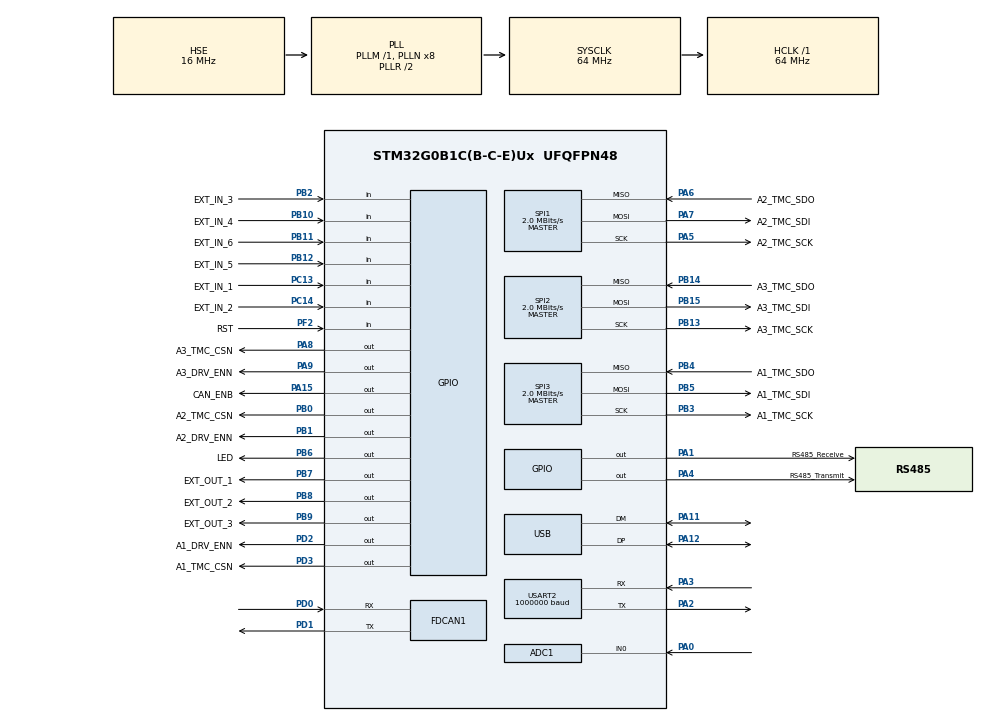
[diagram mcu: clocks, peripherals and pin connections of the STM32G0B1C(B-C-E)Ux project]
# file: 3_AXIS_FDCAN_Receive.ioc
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ADC1.Channel-0\#ChannelRegularConversion=ADC_CHANNEL_0
ADC1.NbrOfConversionFlag=1
ADC1.Rank-0\#ChannelRegularConversion=1
ADC1.SamplingTime-0\#ChannelRegularConversion=ADC_SAMPLINGTIME_COMMON_1
ADC1.SelectedChannel=ADC_CHANNEL_0
ADC1.master=1
FDCAN1.CalculateBaudRateNominal=1000000
FDCAN1.CalculateTimeBitNominal=1000
FDCAN1.CalculateTimeQuantumNominal=62.5
FDCAN1.DataPrescaler=1
FDCAN1.DataTimeSeg1=10
FDCAN1.DataTimeSeg2=2
FDCAN1.FrameFormat=FDCAN_FRAME_FD_BRS
FDCAN1.NominalPrescaler=4
FDCAN1.NominalTimeSeg1=13
FDCAN1.NominalTimeSeg2=2
Mcu.Family=STM32G0
Mcu.Name=STM32G0B1C(B-C-E)Ux
Mcu.Package=UFQFPN48
NVIC.TIM16_FDCAN_IT0_IRQn=true\:0\:0\:false\:false\:true\:true\:true\:true
NVIC.USART2_LPUART2_IRQn=true\:0\:0\:false\:false\:true\:true\:true\:true
NVIC.USB_UCPD1_2_IRQn=true\:0\:0\:false\:false\:true\:true\:true\:true
PA0.Mode=IN0
PA0.Signal=ADC1_IN0
PA1.GPIO_Label=RS485_Receive
PA1.Signal=GPIO_Output
PA11\ [PA9].Mode=Device
PA11\ [PA9].Signal=USB_DM
PA12\ [PA10].Mode=Device
PA12\ [PA10].Signal=USB_DP
PA13.Mode=Serial_Wire
PA13.Signal=SYS_SWDIO
PA14-BOOT0.Mode=Serial_Wire
PA14-BOOT0.Signal=SYS_SWCLK
PA15.GPIO_Label=CAN_ENB
PA15.Signal=GPIO_Output
PA2.Mode=Asynchronous
PA2.Signal=USART2_TX
PA3.Mode=Asynchronous
PA3.Signal=USART2_RX
PA4.GPIO_Label=RS485_Transmit
PA4.Signal=GPIO_Output
PA5.GPIO_Label=A2_TMC_SCK
PA5.GPIO_Speed=GPIO_SPEED_FREQ_HIGH
PA5.Mode=Full_Duplex_Master
PA5.Signal=SPI1_SCK
PA6.GPIO_Label=A2_TMC_SDO
PA6.GPIO_Speed=GPIO_SPEED_FREQ_HIGH
PA6.Mode=Full_Duplex_Master
PA6.Signal=SPI1_MISO
PA7.GPIO_Label=A2_TMC_SDI
PA7.GPIO_Speed=GPIO_SPEED_FREQ_HIGH
PA7.Mode=Full_Duplex_Master
PA7.Signal=SPI1_MOSI
PA8.GPIO_Label=A3_TMC_CSN
PA8.PinState=GPIO_PIN_SET
PA8.Signal=GPIO_Output
PA9.GPIO_Label=A3_DRV_ENN
PA9.GPIO_PuPd=GPIO_PULLUP
PA9.PinState=GPIO_PIN_SET
PA9.Signal=GPIO_Output
PB0.GPIO_Label=A2_TMC_CSN
PB0.PinState=GPIO_PIN_SET
PB0.Signal=GPIO_Output
PB1.GPIO_Label=A2_DRV_ENN
PB1.GPIO_PuPd=GPIO_PULLUP
PB1.PinState=GPIO_PIN_SET
PB1.Signal=GPIO_Output
PB10.GPIO_Label=EXT_IN_4
PB10.GPIO_PuPd=GPIO_PULLDOWN
PB10.Signal=GPIO_Input
PB11.GPIO_Label=EXT_IN_6
PB11.GPIO_PuPd=GPIO_PULLDOWN
PB11.Signal=GPIO_Input
PB12.GPIO_Label=EXT_IN_5
PB12.GPIO_PuPd=GPIO_PULLDOWN
PB12.Signal=GPIO_Input
PB13.GPIO_Label=A3_TMC_SCK
PB13.GPIO_Speed=GPIO_SPEED_FREQ_HIGH
PB13.Mode=Full_Duplex_Master
PB13.Signal=SPI2_SCK
PB14.GPIO_Label=A3_TMC_SDO
PB14.GPIO_Speed=GPIO_SPEED_FREQ_HIGH
PB14.Mode=Full_Duplex_Master
PB14.Signal=SPI2_MISO
PB15.GPIO_Label=A3_TMC_SDI
PB15.GPIO_Speed=GPIO_SPEED_FREQ_HIGH
PB15.Mode=Full_Duplex_Master
PB15.Signal=SPI2_MOSI
PB2.GPIO_Label=EXT_IN_3
PB2.GPIO_PuPd=GPIO_PULLDOWN
PB2.Signal=GPIO_Input
PB3.GPIO_Label=A1_TMC_SCK
PB3.GPIO_Speed=GPIO_SPEED_FREQ_HIGH
PB3.Mode=Full_Duplex_Master
PB3.PinState=GPIO_PIN_RESET
PB3.Signal=SPI3_SCK
PB4.GPIO_Label=A1_TMC_SDO
PB4.GPIO_Speed=GPIO_SPEED_FREQ_HIGH
PB4.Mode=Full_Duplex_Master
PB4.Signal=SPI3_MISO
PB5.GPIO_Label=A1_TMC_SDI
PB5.GPIO_Speed=GPIO_SPEED_FREQ_HIGH
PB5.Mode=Full_Duplex_Master
PB5.Signal=SPI3_MOSI
PB6.GPIO_Label=LED
PB6.GPIO_PuPd=GPIO_NOPULL
PB6.Signal=GPIO_Output
PB7.GPIO_Label=EXT_OUT_1
PB7.GPIO_PuPd=GPIO_PULLDOWN
PB7.Signal=GPIO_Output
PB8.GPIO_Label=EXT_OUT_2
PB8.GPIO_PuPd=GPIO_PULLDOWN
PB8.Signal=GPIO_Output
PB9.GPIO_Label=EXT_OUT_3
PB9.GPIO_PuPd=GPIO_PULLDOWN
PB9.Signal=GPIO_Output
PC13.GPIO_Label=EXT_IN_1
PC13.GPIO_PuPd=GPIO_PULLDOWN
PC13.Signal=GPIO_Input
PC14-OSC32_IN\ (PC14).GPIO_Label=EXT_IN_2
PC14-OSC32_IN\ (PC14).GPIO_PuPd=GPIO_PULLDOWN
PC14-OSC32_IN\ (PC14).Signal=GPIO_Input
PD0.GPIO_Speed=GPIO_SPEED_FREQ_HIGH
PD0.Mode=FDCAN_Activate
PD0.Signal=FDCAN1_RX
PD1.GPIO_Speed=GPIO_SPEED_FREQ_HIGH
PD1.Mode=FDCAN_Activate
PD1.Signal=FDCAN1_TX
PD2.GPIO_Label=A1_DRV_ENN
PD2.GPIO_PuPd=GPIO_PULLUP
PD2.PinState=GPIO_PIN_SET
PD2.Signal=GPIO_Output
PD3.GPIO_Label=A1_TMC_CSN
PD3.PinState=GPIO_PIN_SET
PD3.Signal=GPIO_Output
PF0-OSC_IN\ (PF0).Mode=HSE-External-Oscillator
PF0-OSC_IN\ (PF0).Signal=RCC_OSC_IN
PF1-OSC_OUT\ (PF1).Mode=HSE-External-Oscillator
PF1-OSC_OUT\ (PF1).Signal=RCC_OSC_OUT
PF2-NRST.GPIO_Label=RST
PF2-NRST.Signal=GPIO_Input
ProjectManager.HeapSize=0x200
ProjectManager.StackSize=0x400
ProjectManager.TargetToolchain=STM32CubeIDE
RCC.ADCFreq_Value=64000000
RCC.AHBFreq_Value=64000000
RCC.CortexFreq_Value=64000000
RCC.EXTERNAL_CLOCK_VALUE=48000
RCC.HCLKFreq_Value=64000000
RCC.HSE_VALUE=16000000
RCC.HSI48_VALUE=48000000
RCC.HSI_VALUE=16000000
RCC.LSE_VALUE=32768
RCC.PLLSourceVirtual=RCC_PLLSOURCE_HSE
RCC.SYSCLKFreq_VALUE=64000000
RCC.SYSCLKSource=RCC_SYSCLKSOURCE_PLLCLK
RCC.USBFreq_Value=48000000
RCC.VCOOutputFreq_Value=128000000
SPI1.BaudRatePrescaler=SPI_BAUDRATEPRESCALER_32
SPI1.CLKPhase=SPI_PHASE_1EDGE
SPI1.CalculateBaudRate=2.0 MBits/s
SPI1.DataSize=SPI_DATASIZE_8BIT
SPI1.Direction=SPI_DIRECTION_2LINES
SPI1.Mode=SPI_MODE_MASTER
SPI1.VirtualType=VM_MASTER
SPI2.BaudRatePrescaler=SPI_BAUDRATEPRESCALER_32
SPI2.CLKPhase=SPI_PHASE_1EDGE
SPI2.CalculateBaudRate=2.0 MBits/s
SPI2.DataSize=SPI_DATASIZE_8BIT
SPI2.Direction=SPI_DIRECTION_2LINES
SPI2.Mode=SPI_MODE_MASTER
SPI2.VirtualType=VM_MASTER
SPI3.BaudRatePrescaler=SPI_BAUDRATEPRESCALER_32
SPI3.CLKPhase=SPI_PHASE_1EDGE
SPI3.CalculateBaudRate=2.0 MBits/s
SPI3.DataSize=SPI_DATASIZE_8BIT
SPI3.Direction=SPI_DIRECTION_2LINES
SPI3.Mode=SPI_MODE_MASTER
SPI3.VirtualType=VM_MASTER
USART2.BaudRate=1000000
USART2.VirtualMode-Asynchronous=VM_ASYNC
USB_DEVICE.CLASS_NAME_FS=CDC
USB_DEVICE.VirtualMode=Cdc
USB_DEVICE.VirtualModeFS=Cdc_FS
VP_SYS_VS_DBSignals.Mode=DisableDeadBatterySignals
VP_USB_DEVICE_VS_USB_DEVICE_CDC_FS.Mode=CDC_FS
board=custom

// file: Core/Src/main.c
/* USER CODE BEGIN Header */
/**
  ******************************************************************************
  * @file           : main.c
  * @brief          : Main program body
  ******************************************************************************
  * @attention
  *
  * Copyright (c) 2025 STMicroelectronics.
  * All rights reserved.
  *
  * This software is licensed under terms that can be found in the LICENSE file
  * in the root directory of this software component.
  * If no LICENSE file comes with this software, it is provided AS-IS.
  *
  ******************************************************************************
  * Example: 3_AXIS_FDCAN_Receive
  * Board: 3-AXIS Stepper Driver
  * Purpose: Demonstrates communication using CAN bus using FDCAN.
  * This code will listen to incoming FDCAN bus messages and once CANRxData[0] == 0x01
  * has been received, respond back.
  *
  * Note: FDCAN is not supported on 1-axis. if communication with 1-AXIS is needed
  * use regular CAN
  *
  * Baud used: 1Mbps
  *
  */

/* USER CODE END Header */
#include "main.h"
#include "usb_device.h"

ADC_HandleTypeDef hadc1;

FDCAN_HandleTypeDef hfdcan1;

SPI_HandleTypeDef hspi1;
SPI_HandleTypeDef hspi2;
SPI_HandleTypeDef hspi3;

UART_HandleTypeDef huart2;

void SystemClock_Config(void);
static void MX_GPIO_Init(void);
static void MX_ADC1_Init(void);
static void MX_FDCAN1_Init(void);
static void MX_SPI1_Init(void);
static void MX_SPI2_Init(void);
static void MX_SPI3_Init(void);
static void MX_USART2_UART_Init(void);
/* USER CODE BEGIN PFP */
void EnterBootloader(void);
void Delay_Blocking(volatile uint32_t count);
/* USER CODE END PFP */

/* USER CODE BEGIN 0 */

/* RAMP config */
RampConfig Ramp_axis_1;
RampConfig Ramp_axis_2;
RampConfig Ramp_axis_3;

/* Current config */
CurrentConfig Current_axis_1;
CurrentConfig Current_axis_2;
CurrentConfig Current_axis_3;

/* User Settings */
const int ENC_ENB_A1 = 0;  // 0 = disable Encoder , 1 = enable Encoder
const int ENC_ENB_A2 = 0;  // 0 = disable Encoder , 1 = enable Encoder
const int ENC_ENB_A3 = 0;  // 0 = disable Encoder , 1 = enable Encoder
const int ENC_HOME_A1 = 0; // 0 = don't reset ENC counter at Z-event, 1 = reset at Z-event (for homing)
const int ENC_HOME_A2 = 0; // 0 = don't reset ENC counter at Z-event, 1 = reset at Z-event (for homing)
const int ENC_HOME_A3 = 0; // 0 = don't reset ENC counter at Z-event, 1 = reset at Z-event (for homing)
const int STG_ENB_A1 = 0;  // 0 = disable Stallguard, 1 = enable Stallguard
const int STG_ENB_A2 = 0;  // 0 = disable Stallguard, 1 = enable Stallguard
const int STG_ENB_A3 = 0;  // 0 = disable Stallguard, 1 = enable Stallguard
const int32_t ENC_Resolution_A1 =  8000; // Encoder resolution
const int32_t ENC_Resolution_A2 =  8000; // Encoder resolution
const int32_t ENC_Resolution_A3 =  8000; // Encoder resolution

/* CAN VARIABLES */
FDCAN_TxHeaderTypeDef CANTxHeader;
FDCAN_RxHeaderTypeDef CANRxHeader;

uint8_t CANTxData[8];	//CANTX data array
uint8_t CANRxData[8];	//CANRX data array
uint8_t RS485TxData[8];	//RS485 data array
uint8_t RS485RxData[8]; // RS485 data array
int Datacheck;			//value for checking incoming CAN Data

/*  CAN RECEIVE INTERRUPT */
void HAL_FDCAN_RxFifo0Callback(FDCAN_HandleTypeDef *hfdcan, uint32_t RxFifo0ITs)
{
    // Check which interrupt triggered this callback
    if ((RxFifo0ITs & FDCAN_IT_RX_FIFO0_NEW_MESSAGE) != 0)
    {
    	HAL_FDCAN_GetRxMessage(hfdcan, FDCAN_RX_FIFO0, &CANRxHeader, CANRxData);

		if (CANRxData[0] == 0x01)
		{
			Datacheck = 1;
		}
    }
}

/* RS485 RECEIVE INTERRUPT */
void HAL_UART_RxCpltCallback(UART_HandleTypeDef *huart2)
{
	if(huart2->Instance == USART2)
	{
		if (RS485RxData[0] == 0x01)  // Check if the received data matches the condition (e.g., 0x01)
		{
			Datacheck = 1;  // Set the Datacheck flag to indicate new data received
		}
	}
}

/* USER CODE END 0 */

int main(void)
{

  /* MCU Configuration--------------------------------------------------------*/

  /* Reset of all peripherals, Initializes the Flash interface and the Systick. */
  HAL_Init();

  /* Configure the system clock */
  SystemClock_Config();

  /* USER CODE BEGIN SysInit */
  SSM_InitAxisConfig();
  /* USER CODE END SysInit */

  /* Initialize all configured peripherals */
  MX_GPIO_Init();
  MX_ADC1_Init();
  MX_FDCAN1_Init();
  MX_SPI1_Init();
  MX_SPI2_Init();
  MX_SPI3_Init();
  MX_USART2_UART_Init();
  MX_USB_Device_Init();
  /* USER CODE BEGIN 2 */
  TMC5160_Drive_Enable(0, 1); // turn off 1
  TMC5160_Drive_Enable(0, 2); // turn off 2
  TMC5160_Drive_Enable(0, 3); // turn off 3

  HAL_GPIO_WritePin(LED_GPIO_Port, LED_Pin, 1); // turn on LED

  HAL_FDCAN_Start(&hfdcan1);
  HAL_FDCAN_ActivateNotification(&hfdcan1, FDCAN_IT_RX_FIFO0_NEW_MESSAGE, 0);

    // DATA pakket opbouw CAN BUS
  CANTxHeader.Identifier = 0x100; //ID
  CANTxHeader.IdType = FDCAN_STANDARD_ID; // ID type
  CANTxHeader.TxFrameType = FDCAN_DATA_FRAME;
  CANTxHeader.DataLength = 8;	// data length
  CANTxHeader.BitRateSwitch = 1; //Bitrate switch to 5 Mbps on
  CANTxHeader.FDFormat = FDCAN_FD_CAN;

  CANTxData[0] = 0x01; // dummy data
  CANTxData[1] = 0x02; // dummy data
  CANTxData[2] = 0x03; // dummy data
  CANTxData[3] = 0x04; // dummy data
  CANTxData[4] = 0x05; // dummy data
  CANTxData[5] = 0x06; // dummy data
  CANTxData[6] = 0x07; // dummy data
  CANTxData[7] = 0x08; // dummy data

  HAL_Delay(1000);

  if (HAL_FDCAN_AddMessageToTxFifoQ(&hfdcan1, &CANTxHeader, CANTxData) != HAL_OK)
  {
    Error_Handler();
  }

  /* USER CODE END 2 */

  /* Infinite loop */
  while (1)
  {

    /* USER CODE BEGIN 3 */
	 HAL_GPIO_WritePin(LED_GPIO_Port, LED_Pin, 1); // turn on LED
	 if (Datacheck == 1)
	 {
		 Datacheck = 0;
		 if (HAL_FDCAN_AddMessageToTxFifoQ(&hfdcan1, &CANTxHeader, CANTxData) != HAL_OK)
		 {
		   Error_Handler();
		 }
	 }

	 HAL_Delay(100);
	 HAL_GPIO_WritePin(LED_GPIO_Port, LED_Pin, 0); // turn off LED
	 HAL_Delay(1000);

	 if (enterBootloaderRequested)
	 {
		 HAL_Delay(200);

	     EnterBootloader();
	 }
  }
  /* USER CODE END 3 */
}

void SystemClock_Config(void)
{
  RCC_OscInitTypeDef RCC_OscInitStruct = {0};
  RCC_ClkInitTypeDef RCC_ClkInitStruct = {0};

  /** Configure the main internal regulator output voltage
  */
  HAL_PWREx_ControlVoltageScaling(PWR_REGULATOR_VOLTAGE_SCALE1);

  /** Initializes the RCC Oscillators according to the specified parameters
  * in the RCC_OscInitTypeDef structure.
  */
  RCC_OscInitStruct.OscillatorType = RCC_OSCILLATORTYPE_HSE|RCC_OSCILLATORTYPE_HSI48;
  RCC_OscInitStruct.HSEState = RCC_HSE_ON;
  RCC_OscInitStruct.HSI48State = RCC_HSI48_ON;
  RCC_OscInitStruct.PLL.PLLState = RCC_PLL_ON;
  RCC_OscInitStruct.PLL.PLLSource = RCC_PLLSOURCE_HSE;
  RCC_OscInitStruct.PLL.PLLM = RCC_PLLM_DIV1;
  RCC_OscInitStruct.PLL.PLLN = 8;
  RCC_OscInitStruct.PLL.PLLP = RCC_PLLP_DIV2;
  RCC_OscInitStruct.PLL.PLLQ = RCC_PLLQ_DIV2;
  RCC_OscInitStruct.PLL.PLLR = RCC_PLLR_DIV2;
  if (HAL_RCC_OscConfig(&RCC_OscInitStruct) != HAL_OK)
  {
    Error_Handler();
  }

  /** Initializes the CPU, AHB and APB buses clocks
  */
  RCC_ClkInitStruct.ClockType = RCC_CLOCKTYPE_HCLK|RCC_CLOCKTYPE_SYSCLK
                              |RCC_CLOCKTYPE_PCLK1;
  RCC_ClkInitStruct.SYSCLKSource = RCC_SYSCLKSOURCE_PLLCLK;
  RCC_ClkInitStruct.AHBCLKDivider = RCC_SYSCLK_DIV1;
  RCC_ClkInitStruct.APB1CLKDivider = RCC_HCLK_DIV1;

  if (HAL_RCC_ClockConfig(&RCC_ClkInitStruct, FLASH_LATENCY_2) != HAL_OK)
  {
    Error_Handler();
  }
}

static void MX_ADC1_Init(void)
{

  ADC_ChannelConfTypeDef sConfig = {0};

  /** Configure the global features of the ADC (Clock, Resolution, Data Alignment and number of conversion)
  */
  hadc1.Instance = ADC1;
  hadc1.Init.ClockPrescaler = ADC_CLOCK_SYNC_PCLK_DIV2;
  hadc1.Init.Resolution = ADC_RESOLUTION_12B;
  hadc1.Init.DataAlign = ADC_DATAALIGN_RIGHT;
  hadc1.Init.ScanConvMode = ADC_SCAN_DISABLE;
  hadc1.Init.EOCSelection = ADC_EOC_SINGLE_CONV;
  hadc1.Init.LowPowerAutoWait = DISABLE;
  hadc1.Init.LowPowerAutoPowerOff = DISABLE;
  hadc1.Init.ContinuousConvMode = DISABLE;
  hadc1.Init.NbrOfConversion = 1;
  hadc1.Init.DiscontinuousConvMode = DISABLE;
  hadc1.Init.ExternalTrigConv = ADC_SOFTWARE_START;
  hadc1.Init.ExternalTrigConvEdge = ADC_EXTERNALTRIGCONVEDGE_NONE;
  hadc1.Init.DMAContinuousRequests = DISABLE;
  hadc1.Init.Overrun = ADC_OVR_DATA_PRESERVED;
  hadc1.Init.SamplingTimeCommon1 = ADC_SAMPLETIME_1CYCLE_5;
  hadc1.Init.SamplingTimeCommon2 = ADC_SAMPLETIME_1CYCLE_5;
  hadc1.Init.OversamplingMode = DISABLE;
  hadc1.Init.TriggerFrequencyMode = ADC_TRIGGER_FREQ_HIGH;
  if (HAL_ADC_Init(&hadc1) != HAL_OK)
  {
    Error_Handler();
  }

  /** Configure Regular Channel
  */
  sConfig.Channel = ADC_CHANNEL_0;
  sConfig.Rank = ADC_REGULAR_RANK_1;
  sConfig.SamplingTime = ADC_SAMPLINGTIME_COMMON_1;
  if (HAL_ADC_ConfigChannel(&hadc1, &sConfig) != HAL_OK)
  {
    Error_Handler();
  }

}

static void MX_FDCAN1_Init(void)
{

  hfdcan1.Instance = FDCAN1;
  hfdcan1.Init.ClockDivider = FDCAN_CLOCK_DIV1;
  hfdcan1.Init.FrameFormat = FDCAN_FRAME_FD_BRS;
  hfdcan1.Init.Mode = FDCAN_MODE_NORMAL;
  hfdcan1.Init.AutoRetransmission = DISABLE;
  hfdcan1.Init.TransmitPause = DISABLE;
  hfdcan1.Init.ProtocolException = DISABLE;
  hfdcan1.Init.NominalPrescaler = 4;
  hfdcan1.Init.NominalSyncJumpWidth = 1;
  hfdcan1.Init.NominalTimeSeg1 = 13;
  hfdcan1.Init.NominalTimeSeg2 = 2;
  hfdcan1.Init.DataPrescaler = 1;
  hfdcan1.Init.DataSyncJumpWidth = 1;
  hfdcan1.Init.DataTimeSeg1 = 10;
  hfdcan1.Init.DataTimeSeg2 = 2;
  hfdcan1.Init.StdFiltersNbr = 0;
  hfdcan1.Init.ExtFiltersNbr = 0;
  hfdcan1.Init.TxFifoQueueMode = FDCAN_TX_FIFO_OPERATION;
  if (HAL_FDCAN_Init(&hfdcan1) != HAL_OK)
  {
    Error_Handler();
  }
  /* USER CODE BEGIN FDCAN1_Init 2 */
  FDCAN_FilterTypeDef sFilter;
  sFilter.IdType = FDCAN_STANDARD_ID;
  sFilter.FilterIndex = 1;
  sFilter.FilterType = FDCAN_FILTER_MASK;
  sFilter.FilterConfig = FDCAN_FILTER_TO_RXFIFO0;
  sFilter.FilterID1 = 0x000;
  sFilter.FilterID2 = 0x000;
  HAL_FDCAN_ConfigFilter(&hfdcan1, &sFilter);
  /* USER CODE END FDCAN1_Init 2 */

}

static void MX_SPI1_Init(void)
{

  /* SPI1 parameter configuration*/
  hspi1.Instance = SPI1;
  hspi1.Init.Mode = SPI_MODE_MASTER;
  hspi1.Init.Direction = SPI_DIRECTION_2LINES;
  hspi1.Init.DataSize = SPI_DATASIZE_8BIT;
  hspi1.Init.CLKPolarity = SPI_POLARITY_LOW;
  hspi1.Init.CLKPhase = SPI_PHASE_1EDGE;
  hspi1.Init.NSS = SPI_NSS_SOFT;
  hspi1.Init.BaudRatePrescaler = SPI_BAUDRATEPRESCALER_32;
  hspi1.Init.FirstBit = SPI_FIRSTBIT_MSB;
  hspi1.Init.TIMode = SPI_TIMODE_DISABLE;
  hspi1.Init.CRCCalculation = SPI_CRCCALCULATION_DISABLE;
  hspi1.Init.CRCPolynomial = 7;
  hspi1.Init.CRCLength = SPI_CRC_LENGTH_DATASIZE;
  hspi1.Init.NSSPMode = SPI_NSS_PULSE_ENABLE;
  if (HAL_SPI_Init(&hspi1) != HAL_OK)
  {
    Error_Handler();
  }

}

static void MX_SPI2_Init(void)
{

  /* SPI2 parameter configuration*/
  hspi2.Instance = SPI2;
  hspi2.Init.Mode = SPI_MODE_MASTER;
  hspi2.Init.Direction = SPI_DIRECTION_2LINES;
  hspi2.Init.DataSize = SPI_DATASIZE_8BIT;
  hspi2.Init.CLKPolarity = SPI_POLARITY_LOW;
  hspi2.Init.CLKPhase = SPI_PHASE_1EDGE;
  hspi2.Init.NSS = SPI_NSS_SOFT;
  hspi2.Init.BaudRatePrescaler = SPI_BAUDRATEPRESCALER_32;
  hspi2.Init.FirstBit = SPI_FIRSTBIT_MSB;
  hspi2.Init.TIMode = SPI_TIMODE_DISABLE;
  hspi2.Init.CRCCalculation = SPI_CRCCALCULATION_DISABLE;
  hspi2.Init.CRCPolynomial = 7;
  hspi2.Init.CRCLength = SPI_CRC_LENGTH_DATASIZE;
  hspi2.Init.NSSPMode = SPI_NSS_PULSE_ENABLE;
  if (HAL_SPI_Init(&hspi2) != HAL_OK)
  {
    Error_Handler();
  }

}

static void MX_SPI3_Init(void)
{

  /* SPI3 parameter configuration*/
  hspi3.Instance = SPI3;
  hspi3.Init.Mode = SPI_MODE_MASTER;
  hspi3.Init.Direction = SPI_DIRECTION_2LINES;
  hspi3.Init.DataSize = SPI_DATASIZE_8BIT;
  hspi3.Init.CLKPolarity = SPI_POLARITY_LOW;
  hspi3.Init.CLKPhase = SPI_PHASE_1EDGE;
  hspi3.Init.NSS = SPI_NSS_SOFT;
  hspi3.Init.BaudRatePrescaler = SPI_BAUDRATEPRESCALER_32;
  hspi3.Init.FirstBit = SPI_FIRSTBIT_MSB;
  hspi3.Init.TIMode = SPI_TIMODE_DISABLE;
  hspi3.Init.CRCCalculation = SPI_CRCCALCULATION_DISABLE;
  hspi3.Init.CRCPolynomial = 7;
  hspi3.Init.CRCLength = SPI_CRC_LENGTH_DATASIZE;
  hspi3.Init.NSSPMode = SPI_NSS_PULSE_ENABLE;
  if (HAL_SPI_Init(&hspi3) != HAL_OK)
  {
    Error_Handler();
  }

}

static void MX_USART2_UART_Init(void)
{

  huart2.Instance = USART2;
  huart2.Init.BaudRate = 1000000;
  huart2.Init.WordLength = UART_WORDLENGTH_8B;
  huart2.Init.StopBits = UART_STOPBITS_1;
  huart2.Init.Parity = UART_PARITY_NONE;
  huart2.Init.Mode = UART_MODE_TX_RX;
  huart2.Init.HwFlowCtl = UART_HWCONTROL_NONE;
  huart2.Init.OverSampling = UART_OVERSAMPLING_16;
  huart2.Init.OneBitSampling = UART_ONE_BIT_SAMPLE_DISABLE;
  huart2.Init.ClockPrescaler = UART_PRESCALER_DIV1;
  huart2.AdvancedInit.AdvFeatureInit = UART_ADVFEATURE_NO_INIT;
  if (HAL_UART_Init(&huart2) != HAL_OK)
  {
    Error_Handler();
  }
  if (HAL_UARTEx_SetTxFifoThreshold(&huart2, UART_TXFIFO_THRESHOLD_1_8) != HAL_OK)
  {
    Error_Handler();
  }
  if (HAL_UARTEx_SetRxFifoThreshold(&huart2, UART_RXFIFO_THRESHOLD_1_8) != HAL_OK)
  {
    Error_Handler();
  }
  if (HAL_UARTEx_DisableFifoMode(&huart2) != HAL_OK)
  {
    Error_Handler();
  }

}

static void MX_GPIO_Init(void)
{
  GPIO_InitTypeDef GPIO_InitStruct = {0};

  /* GPIO Ports Clock Enable */
  __HAL_RCC_GPIOC_CLK_ENABLE();
  __HAL_RCC_GPIOF_CLK_ENABLE();
  __HAL_RCC_GPIOA_CLK_ENABLE();
  __HAL_RCC_GPIOB_CLK_ENABLE();
  __HAL_RCC_GPIOD_CLK_ENABLE();

  /*Configure GPIO pin Output Level */
  HAL_GPIO_WritePin(GPIOA, RS485_Receive_Pin|RS485_Transmit_Pin|CAN_ENB_Pin, GPIO_PIN_RESET);

  /*Configure GPIO pin Output Level */
  HAL_GPIO_WritePin(GPIOB, A2_TMC_CSN_Pin|A2_DRV_ENN_Pin, GPIO_PIN_SET);

  /*Configure GPIO pin Output Level */
  HAL_GPIO_WritePin(GPIOA, A3_TMC_CSN_Pin|A3_DRV_ENN_Pin, GPIO_PIN_SET);

  /*Configure GPIO pin Output Level */
  HAL_GPIO_WritePin(GPIOD, A1_DRV_ENN_Pin|A1_TMC_CSN_Pin, GPIO_PIN_SET);

  /*Configure GPIO pin Output Level */
  HAL_GPIO_WritePin(GPIOB, LED_Pin|EXT_OUT_1_Pin|EXT_OUT_2_Pin|EXT_OUT_3_Pin, GPIO_PIN_RESET);

  /*Configure GPIO pins : EXT_IN_1_Pin EXT_IN_2_Pin */
  GPIO_InitStruct.Pin = EXT_IN_1_Pin|EXT_IN_2_Pin;
  GPIO_InitStruct.Mode = GPIO_MODE_INPUT;
  GPIO_InitStruct.Pull = GPIO_PULLDOWN;
  HAL_GPIO_Init(GPIOC, &GPIO_InitStruct);

  /*Configure GPIO pin : RST_Pin */
  GPIO_InitStruct.Pin = RST_Pin;
  GPIO_InitStruct.Mode = GPIO_MODE_INPUT;
  GPIO_InitStruct.Pull = GPIO_NOPULL;
  HAL_GPIO_Init(RST_GPIO_Port, &GPIO_InitStruct);

  /*Configure GPIO pins : RS485_Receive_Pin RS485_Transmit_Pin A3_TMC_CSN_Pin CAN_ENB_Pin */
  GPIO_InitStruct.Pin = RS485_Receive_Pin|RS485_Transmit_Pin|A3_TMC_CSN_Pin|CAN_ENB_Pin;
  GPIO_InitStruct.Mode = GPIO_MODE_OUTPUT_PP;
  GPIO_InitStruct.Pull = GPIO_NOPULL;
  GPIO_InitStruct.Speed = GPIO_SPEED_FREQ_LOW;
  HAL_GPIO_Init(GPIOA, &GPIO_InitStruct);

  /*Configure GPIO pins : A2_TMC_CSN_Pin LED_Pin */
  GPIO_InitStruct.Pin = A2_TMC_CSN_Pin|LED_Pin;
  GPIO_InitStruct.Mode = GPIO_MODE_OUTPUT_PP;
  GPIO_InitStruct.Pull = GPIO_NOPULL;
  GPIO_InitStruct.Speed = GPIO_SPEED_FREQ_LOW;
  HAL_GPIO_Init(GPIOB, &GPIO_InitStruct);

  /*Configure GPIO pin : A2_DRV_ENN_Pin */
  GPIO_InitStruct.Pin = A2_DRV_ENN_Pin;
  GPIO_InitStruct.Mode = GPIO_MODE_OUTPUT_PP;
  GPIO_InitStruct.Pull = GPIO_PULLUP;
  GPIO_InitStruct.Speed = GPIO_SPEED_FREQ_LOW;
  HAL_GPIO_Init(A2_DRV_ENN_GPIO_Port, &GPIO_InitStruct);

  /*Configure GPIO pins : EXT_IN_3_Pin EXT_IN_4_Pin EXT_IN_6_Pin EXT_IN_5_Pin */
  GPIO_InitStruct.Pin = EXT_IN_3_Pin|EXT_IN_4_Pin|EXT_IN_6_Pin|EXT_IN_5_Pin;
  GPIO_InitStruct.Mode = GPIO_MODE_INPUT;
  GPIO_InitStruct.Pull = GPIO_PULLDOWN;
  HAL_GPIO_Init(GPIOB, &GPIO_InitStruct);

  /*Configure GPIO pin : A3_DRV_ENN_Pin */
  GPIO_InitStruct.Pin = A3_DRV_ENN_Pin;
  GPIO_InitStruct.Mode = GPIO_MODE_OUTPUT_PP;
  GPIO_InitStruct.Pull = GPIO_PULLUP;
  GPIO_InitStruct.Speed = GPIO_SPEED_FREQ_LOW;
  HAL_GPIO_Init(A3_DRV_ENN_GPIO_Port, &GPIO_InitStruct);

  /*Configure GPIO pin : A1_DRV_ENN_Pin */
  GPIO_InitStruct.Pin = A1_DRV_ENN_Pin;
  GPIO_InitStruct.Mode = GPIO_MODE_OUTPUT_PP;
  GPIO_InitStruct.Pull = GPIO_PULLUP;
  GPIO_InitStruct.Speed = GPIO_SPEED_FREQ_LOW;
  HAL_GPIO_Init(A1_DRV_ENN_GPIO_Port, &GPIO_InitStruct);

  /*Configure GPIO pin : A1_TMC_CSN_Pin */
  GPIO_InitStruct.Pin = A1_TMC_CSN_Pin;
  GPIO_InitStruct.Mode = GPIO_MODE_OUTPUT_PP;
  GPIO_InitStruct.Pull = GPIO_NOPULL;
  GPIO_InitStruct.Speed = GPIO_SPEED_FREQ_LOW;
  HAL_GPIO_Init(A1_TMC_CSN_GPIO_Port, &GPIO_InitStruct);

  /*Configure GPIO pins : EXT_OUT_1_Pin EXT_OUT_2_Pin EXT_OUT_3_Pin */
  GPIO_InitStruct.Pin = EXT_OUT_1_Pin|EXT_OUT_2_Pin|EXT_OUT_3_Pin;
  GPIO_InitStruct.Mode = GPIO_MODE_OUTPUT_PP;
  GPIO_InitStruct.Pull = GPIO_PULLDOWN;
  GPIO_InitStruct.Speed = GPIO_SPEED_FREQ_LOW;
  HAL_GPIO_Init(GPIOB, &GPIO_InitStruct);

}

/* USER CODE BEGIN 4 */
void EnterBootloader(void)
{
	  uint32_t bootAddr = SYS_MEM_BOOT_ADDR;
	  boot_func_t bootEntry;

	  // Disable all interrupts
	  __disable_irq();

	  extern USBD_HandleTypeDef hUsbDeviceFS;

	  USBD_Stop(&hUsbDeviceFS);
	  USBD_DeInit(&hUsbDeviceFS);

	  // Disable USB peripheral clock
	  __HAL_RCC_USB_CLK_DISABLE();

	  // Force USB D+ line low
	  __HAL_RCC_GPIOA_CLK_ENABLE();
	  GPIO_InitTypeDef gpio = {0};
	  gpio.Pin = GPIO_PIN_12;
	  gpio.Mode = GPIO_MODE_OUTPUT_PP;
	  gpio.Pull = GPIO_NOPULL;
	  gpio.Speed = GPIO_SPEED_FREQ_LOW;
	  HAL_GPIO_Init(GPIOA, &gpio);
	  HAL_GPIO_WritePin(GPIOA, GPIO_PIN_12, GPIO_PIN_RESET);

      Delay_Blocking(4000000);

	  // Deinitialize HAL / periphs
	  HAL_RCC_DeInit();
	  HAL_DeInit();

	  Delay_Blocking(4000000);

	  // Set stack pointer from system memory vector table
	  __set_MSP(*(uint32_t *)bootAddr);

	  // Read reset vector (entry point) from system memory
	  uint32_t resetVec = *(uint32_t *)(bootAddr + 4);
	  bootEntry = (boot_func_t)resetVec;

	  bootEntry();
}

void Delay_Blocking(volatile uint32_t count)
{
    while (count--) {
        __NOP();
    }
}
/* USER CODE END 4 */

void Error_Handler(void)
{
  /* USER CODE BEGIN Error_Handler_Debug */
  /* User can add his own implementation to report the HAL error return state */

	if(enterBootloaderRequested == 1)
	{
		EnterBootloader();
	}

	__disable_irq();

	while (1)
	{

	}
  /* USER CODE END Error_Handler_Debug */
}
